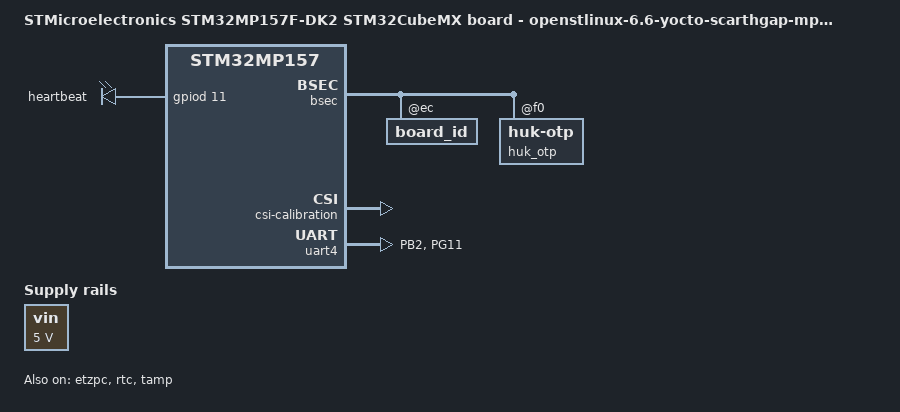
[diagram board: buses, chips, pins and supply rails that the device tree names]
// SPDX-License-Identifier: (GPL-2.0-only OR BSD-3-Clause)
/*
 * Copyright (C) 2026, STMicroelectronics - All Rights Reserved
 * Author: STM32CubeMX code generation for STMicroelectronics.
 */

/* For more information on Device Tree configuration, please refer to
 * https://wiki.st.com/stm32mpu/wiki/Category:Device_tree_configuration
 */

/dts-v1/;

#include <dt-bindings/pinctrl/stm32-pinfunc.h>
#include <dt-bindings/clock/stm32mp1-clksrc.h>
#include <dt-bindings/soc/stm32mp15-etzpc.h>
#include "stm32mp157.dtsi"
#include "stm32mp15xf.dtsi"
#include "stm32mp15xxac-pinctrl.dtsi"

/* USER CODE BEGIN includes */
#include "stm32mp15-pinctrl.dtsi"
#include <dt-bindings/gpio/gpio.h>
#include <dt-bindings/power/stm32mp1-power.h>
#include <dt-bindings/mfd/st,stpmic1.h>
#include <dt-bindings/soc/stm32mp-provisioning.h>
#include <dt-bindings/tamper/st,stm32-tamp.h>
/* USER CODE END includes */

/ {
	model = "STMicroelectronics STM32MP157F-DK2 STM32CubeMX board - openstlinux-6.6-yocto-scarthgap-mpu-v26.06.10";
	compatible = "st,stm32mp157f-m4_flash_trigger-mx", "st,stm32mp157f-dk2", "st,stm32mp157";

	/* !!! log : Warning - no DDR config found: 'memory' node not generated  !!! */

	/*
	memory@??? {
		reg = < ??? >;
	};
	*/

	reserved-memory {
		#address-cells = <1>;
		#size-cells = <1>;
		ranges;

		/* USER CODE BEGIN reserved-memory */

		mcusram1:mcuram1@10000000{
			compatible = "shared-dma-pool";
			reg = <0x10000000 0x20000>;
			no-map;
			access-controllers-conf-default = <&etzpc DECPROT(STM32MP1_ETZPC_SRAM1_ID, DECPROT_MCU_ISOLATION, DECPROT_UNLOCK)>;
			access-controllers-conf-load = <&etzpc DECPROT(STM32MP1_ETZPC_SRAM1_ID, DECPROT_S_RW, DECPROT_UNLOCK)>;
		};

		mcusram2:mcuram2@10020000{
			compatible = "shared-dma-pool";
			reg = <0x10020000 0x20000>;
			no-map;
			access-controllers-conf-default = <&etzpc DECPROT(STM32MP1_ETZPC_SRAM2_ID, DECPROT_MCU_ISOLATION, DECPROT_UNLOCK)>;
			access-controllers-conf-load = <&etzpc DECPROT(STM32MP1_ETZPC_SRAM2_ID, DECPROT_S_RW, DECPROT_UNLOCK)>;
		};

		mcusram3:mcuram3@10040000{
			compatible = "shared-dma-pool";
			reg = <0x10040000 0x10000>;
			no-map;
			access-controllers-conf-default = <&etzpc DECPROT(STM32MP1_ETZPC_SRAM3_ID, DECPROT_NS_RW, DECPROT_UNLOCK)>;
			access-controllers-conf-load = <&etzpc DECPROT(STM32MP1_ETZPC_SRAM3_ID, DECPROT_S_RW, DECPROT_UNLOCK)>;
		};

		retram:retram@38000000{
			compatible = "shared-dma-pool";
			reg = <0x38000000 0x10000>;
			no-map;
			access-controllers-conf-default = <&etzpc DECPROT(STM32MP1_ETZPC_RETRAM_ID, DECPROT_MCU_ISOLATION, DECPROT_UNLOCK)>;
			access-controllers-conf-load = <&etzpc DECPROT(STM32MP1_ETZPC_RETRAM_ID, DECPROT_S_RW, DECPROT_UNLOCK)>;
		};

		gpu_reserved:gpu@d4000000{
			reg = <0xd4000000 0x4000000>;
			no-map;
		};
		/* USER CODE END reserved-memory */
	};

	/* USER CODE BEGIN root */

	aliases{
		serial0 = &uart4;
		serial1 = &usart3;
		serial2 = &uart7;
		serial3 = &usart2;
	};

	led{
		compatible = "gpio-leds";

		led-blue{
			label = "heartbeat";
			gpios = <&gpiod 11 GPIO_ACTIVE_HIGH>;
			linux,default-trigger = "heartbeat";
			default-state = "off";
		};
	};

	shadow-prov{
		compatible = "st,provisioning";

		hw2_prov{
			nvmem-cells = <&hw2_otp>;
			st,shadow-value = <0x000001E0>;
			st,shadow-lock = <STICKY_LOCK_SR>;
		};
	};

	vin:vin{
		compatible = "regulator-fixed";
		regulator-name = "vin";
		regulator-min-microvolt = <5000000>;
		regulator-max-microvolt = <5000000>;
		regulator-always-on;
	};

	chosen{
		stdout-path = "serial0:115200n8";
	};
	/* USER CODE END root */

	clocks {
		/* USER CODE BEGIN clocks */
		/* USER CODE END clocks */

		clk_hsi: clk-hsi {
			clock-frequency = <64000000>;

			/* USER CODE BEGIN clk_hsi */
			/* USER CODE END clk_hsi */
		};
		clk_lse: clk-lse {
			clock-frequency = <32768>;
			st,drive = < LSEDRV_MEDIUM_HIGH >;

			/* USER CODE BEGIN clk_lse */
			/* USER CODE END clk_lse */
		};
		clk_hse: clk-hse {
			clock-frequency = <24000000>;
			st,digbypass;

			/* USER CODE BEGIN clk_hse */
			/* USER CODE END clk_hse */
		};
	};

}; /*root*/

/*Warning: the configuration of the secured GPIOs should be added in (addons) User Section*/
&pinctrl {
	rtc_pins_mx: rtc_mx-0 {
		pins {
			pinmux = <STM32_PINMUX('I', 8, ANALOG)>; /* RTC_LSCO */
		};
	};

	/* USER CODE BEGIN pinctrl */

	uart4_pins_mx: uart4_mx-0 {
		pins1 {
			pinmux = <STM32_PINMUX('B', 2, AF8)>; /* UART4_RX */
			bias-disable;
		};
		pins2 {
			pinmux = <STM32_PINMUX('G', 11, AF6)>; /* UART4_TX */
			bias-disable;
			drive-push-pull;
			slew-rate = <0>;
		};
	uart4_idle_pins_mx: uart4-idle-0 {
			pins1 {
				pinmux = <STM32_PINMUX('G', 11, ANALOG)>; /* UART4_TX */
			};
			pins2 {
				pinmux = <STM32_PINMUX('B', 2, AF8)>; /* UART4_RX */
				bias-disable;
			};
		};
	
	uart4_sleep_pins_mx: uart4-sleep-0 {
			pins {
				pinmux = <STM32_PINMUX('G', 11, ANALOG)>, /* UART4_TX */
					 <STM32_PINMUX('B', 2, ANALOG)>; /* UART4_RX */
			};
		};
	};
	/* USER CODE END pinctrl */
};

&pinctrl_z {
	/* USER CODE BEGIN pinctrl_z */
	/* USER CODE END pinctrl_z */
};

&bsec {
	status = "okay";

	/* USER CODE BEGIN bsec */

	board_id:board_id@ec{
		reg = <0xec 0x4>;
		st,non-secure-otp;
	};

	huk_otp:huk-otp@f0{
		reg = <0xf0 0x10>;
	};
	/* USER CODE END bsec */
};

&etzpc {
	status = "okay";
	st,decprot = <
	/*"Non Secured" peripherals*/
	DECPROT(STM32MP1_ETZPC_DMA1_ID, DECPROT_NS_RW, DECPROT_UNLOCK)
	DECPROT(STM32MP1_ETZPC_DMAMUX_ID, DECPROT_NS_RW, DECPROT_UNLOCK)
	/*"Secured" peripherals*/
	DECPROT(STM32MP1_ETZPC_STGENC_ID, DECPROT_S_RW, DECPROT_UNLOCK)
	/*"Mcu Isolation" peripherals*/
	DECPROT(STM32MP1_ETZPC_DMA2_ID, DECPROT_MCU_ISOLATION, DECPROT_UNLOCK)
	DECPROT(STM32MP1_ETZPC_TIM5_ID, DECPROT_MCU_ISOLATION, DECPROT_UNLOCK)

	/*Restriction: following IDs are not managed  - please to use User-Section if needed:
		  STM32MP1_ETZPC_SRAMx_ID  STM32MP1_ETZPC_RETRAM_ID  STM32MP1_ETZPC_BKPSRAM_ID*/

	/* USER CODE BEGIN etzpc_decprot */
		/*STM32CubeMX generates a basic and standard configuration for ETZPC.
		Additional device configurations can be added here if needed.
		"etzpc" node could be also overloaded in "addons" User-Section.*/
	/* USER CODE END etzpc_decprot */
	>;

	/* USER CODE BEGIN etzpc */
	/* USER CODE END etzpc */
};

&rcc {
	status = "okay";
	/* USER CODE BEGIN rcc */
	compatible = "st,stm32mp1-rcc-secure";
	/* USER CODE END rcc */
	st,clksrc = <
		CLK_CKPER_DISABLED
		CLK_STGEN_HSE
		CLK_MPU_PLL1P
		CLK_AXI_PLL2P
		CLK_MCU_PLL3P
		CLK_RTC_LSE
		CLK_MCO1_DISABLED
		CLK_MCO2_DISABLED
	>;
	st,clkdiv = <
		DIV(DIV_MPU, 1)
		DIV(DIV_AXI, 0)
		DIV(DIV_MCU, 0)
		DIV(DIV_APB1, 1)
		DIV(DIV_APB2, 1)
		DIV(DIV_APB3, 1)
		DIV(DIV_APB4, 1)
		DIV(DIV_APB5, 2)
		DIV(DIV_RTC, 23)
		DIV(DIV_MCO1, 0)
		DIV(DIV_MCO2, 0)
	>;
	st,pll_vco {
		pll2_vco_1066Mhz: pll2-vco-1066Mhz {
			src = < CLK_PLL12_HSE >;
			divmn = < 2 65 >;
			frac = < 0x1400 >;
		};
		pll3_vco_417Mhz: pll3-vco-417Mhz {
			src = < CLK_PLL3_HSE >;
			divmn = < 1 33 >;
			frac = < 0x1a04 >;
		};
		pll4_vco_96000000Mhz: pll4-vco-96000000Mhz {
			src = < 0 >;
			divmn = < 3 98 >;
		};
		/* USER CODE BEGIN rcc_st-pll_vco */
		/* USER CODE END rcc_st-pll_vco */
	};

	pll2:st,pll@1 {
		compatible = "st,stm32mp1-pll";
		reg = <1>;

		st,pll = < &pll2_cfg1 >;

		pll2_cfg1: pll2_cfg1 {
			st,pll_vco = < &pll2_vco_1066Mhz >;
			st,pll_div_pqr = < 1 0 0 >;
		};
		/* USER CODE BEGIN pll2 */
		/* USER CODE END pll2 */
	};

	pll3:st,pll@2 {
		compatible = "st,stm32mp1-pll";
		reg = <2>;

		st,pll = < &pll3_cfg1 >;

		pll3_cfg1: pll3_cfg1 {
			st,pll_vco = < &pll3_vco_417Mhz >;
			st,pll_div_pqr = < 1 16 36 >;
		};
		/* USER CODE BEGIN pll3 */
		/* USER CODE END pll3 */
	};

	pll4:st,pll@3 {
		compatible = "st,stm32mp1-pll";
		reg = <3>;

		st,pll = < &pll4_cfg1 >;

		pll4_cfg1: pll4_cfg1 {
			st,pll_vco = < &pll4_vco_96000000Mhz >;
			st,pll_div_pqr = < 5 7 7 >;
		};
		/* USER CODE BEGIN pll4 */
		/* USER CODE END pll4 */
	};

};

&rtc {
	pinctrl-names = "default";
	pinctrl-0 = <&rtc_pins_mx>;
	status = "okay";

	/* USER CODE BEGIN rtc */
	/* USER CODE END rtc */
};

&tamp {
	status = "okay";

	/* USER CODE BEGIN tamp */
	st,tamp-passive-nb-sample = <4>;
	st,tamp-passive-sample-clk-div = <16384>;
	/* USER CODE END tamp */
};

/* USER CODE BEGIN addons */

&gpu {
	contiguous-area = <&gpu_reserved>;
};

&cpu0 {
	cpu-supply = <&vddcore>;
};

&cpu1 {
	cpu-supply = <&vddcore>;
};

&osc_calibration {

	csi-calibration{
		status = "okay";
	};

	hsi-calibration{
		status = "okay";
	};
};

&usbphyc_port0 {
	phy-supply = <&vdd_usb>;
	st,tune-hs-dc-level = <2>;
	st,enable-fs-rftime-tuning;
	st,enable-hs-rftime-reduction;
	st,trim-hs-current = <15>;
	st,trim-hs-impedance = <1>;
	st,tune-squelch-level = <3>;
	st,tune-hs-rx-offset = <2>;
	st,no-lsfs-sc;
};

&usbphyc_port1 {
	phy-supply = <&vdd_usb>;
	st,tune-hs-dc-level = <2>;
	st,enable-fs-rftime-tuning;
	st,enable-hs-rftime-reduction;
	st,trim-hs-current = <15>;
	st,trim-hs-impedance = <1>;
	st,tune-squelch-level = <3>;
	st,tune-hs-rx-offset = <2>;
	st,no-lsfs-sc;
};


&uart4 {
	pinctrl-names = "default", "sleep", "idle";
	pinctrl-0 = <&uart4_pins_mx>;
	pinctrl-1 = <&uart4_sleep_pins_mx>;
	pinctrl-2 = <&uart4_idle_pins_mx>;
	/delete-property/dmas;
	/delete-property/dma-names;
	status = "okay";
};
/* USER CODE END addons */

